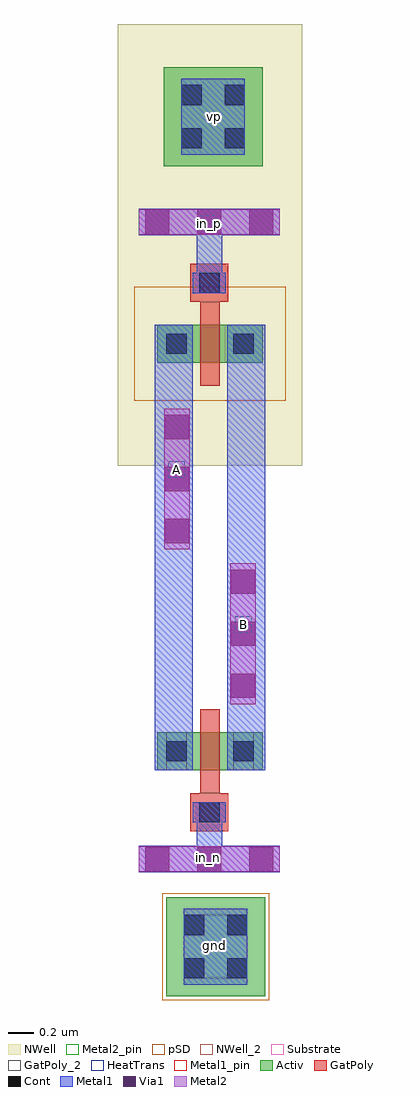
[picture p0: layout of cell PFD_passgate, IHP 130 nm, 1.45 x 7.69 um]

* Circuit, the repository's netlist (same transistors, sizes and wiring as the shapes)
** sch_path: /foss/designs/CHIP-PLL/schematics/PFD/PFD_passgate.sch
**.subckt PFD_passgate in_n vp A B gnd in_p
*.ipin in_n
*.ipin in_p
*.iopin vp
*.iopin gnd
*.iopin B
*.iopin A
XM4 B in_p A vp sg13_lv_pmos w=0.3u l=0.15u ng=1 m=1 mm_ok=1
XM5 B in_n A gnd sg13_lv_nmos w=0.3u l=0.15u ng=1 m=1 mm_ok=1
**.ends
.end

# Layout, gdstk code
import gdstk
lib = gdstk.Library(unit=1e-6, precision=1e-09)
def R(c, l, rs):  # rectangles x0, y0, x1, y1
    for r in rs: c.add(gdstk.rectangle(r[:2], r[2:], *l))
def A(c, l, x, y, w, h, nx, ny, dx, dy):  # array of equal rectangles
    R(c, l, [(x+i*dx, y+j*dy, x+i*dx+w, y+j*dy+h) for i in range(nx) for j in range(ny)])
Activ = (1, 0)
GatPoly = (5, 0)
GatPoly_2 = (5, 2)
Cont = (6, 0)
Metal1 = (8, 0)
Metal1_pin = (8, 2)
Metal2 = (10, 0)
Metal2_pin = (10, 2)
pSD = (14, 0)
Via1 = (19, 0)
NWell = (31, 0)
NWell_2 = (31, 2)
Substrate = (40, 0)
HeatTrans = (51, 0)

pmos_2 = lib.new_cell('pmos$2')
R(pmos_2, Activ, [(0,0,0.3,0.3), (0,0,0.83,0.3), (0.53,0,0.83,0.3)])
R(pmos_2, GatPoly, [(0.34,-0.18,0.49,0.48), (0.34,-0.18,0.49,0.48)])
R(pmos_2, Cont, [(0.07,0.07,0.23,0.23), (0.6,0.07,0.76,0.23)])
R(pmos_2, Metal1, [(0.07,0,0.23,0.3), (0.07,0,0.23,0.3), (0.6,0,0.76,0.3), (0.6,0,0.76,0.3)])
R(pmos_2, pSD, [(-0.18,-0.3,1.01,0.6)])
R(pmos_2, NWell, [(-0.31,-0.31,1.14,0.61)])
R(pmos_2, Substrate, [(0.53,0,0.83,0.3)])
R(pmos_2, HeatTrans, [(0.34,-0.18,0.49,0.48)])
pmos_2.add(gdstk.Label('pmos', (0.415,0.15), layer=63, texttype=0))
pmos_2.add(gdstk.Label('pmos', (0.415,0.15), layer=51, texttype=0))

nmos_2 = lib.new_cell('nmos$2')
R(nmos_2, Activ, [(0,0,0.3,0.3), (0,0,0.83,0.3), (0.53,0,0.83,0.3)])
R(nmos_2, GatPoly, [(0.34,-0.18,0.49,0.48)])
R(nmos_2, GatPoly_2, [(0.34,-0.18,0.49,0.48)])
R(nmos_2, Cont, [(0.07,0.07,0.23,0.23), (0.6,0.07,0.76,0.23)])
R(nmos_2, Metal1, [(0.07,0,0.23,0.3), (0.6,0,0.76,0.3)])
R(nmos_2, Metal1_pin, [(0.07,0,0.23,0.3), (0.6,0,0.76,0.3)])
R(nmos_2, HeatTrans, [(0.34,-0.18,0.49,0.48)])
nmos_2.add(gdstk.Label('nmos', (0.415,0.15), layer=63, texttype=0))
nmos_2.add(gdstk.Label('nmos', (0.415,0.15), layer=51, texttype=0))

ptap1_2 = lib.new_cell('ptap1$2')
R(ptap1_2, Activ, [(0,0,0.78,0.78)])
R(ptap1_2, Cont, [(0.14,0.14,0.3,0.3), (0.48,0.14,0.64,0.3), (0.14,0.48,0.3,0.64), (0.48,0.48,0.64,0.64)])
R(ptap1_2, Metal1, [(0.14,0.09,0.64,0.69), (0.14,0.14,0.64,0.64)])
R(ptap1_2, Metal1_pin, [(0.14,0.14,0.64,0.64)])
R(ptap1_2, pSD, [(-0.03,-0.03,0.81,0.81)])
R(ptap1_2, Substrate, [(0,0,0.78,0.78)])
ptap1_2.add(gdstk.Label('sub!', (0.39,0.01), layer=63, texttype=0))
ptap1_2.add(gdstk.Label('sub!', (0.39,0.01), layer=40, texttype=0))

ntap1_2 = lib.new_cell('ntap1$2')
R(ntap1_2, Activ, [(0,0,0.78,0.78)])
R(ntap1_2, Cont, [(0.14,0.14,0.3,0.3), (0.48,0.14,0.64,0.3), (0.14,0.48,0.3,0.64), (0.48,0.48,0.64,0.64)])
R(ntap1_2, Metal1, [(0.14,0.09,0.64,0.69)])
R(ntap1_2, Metal1_pin, [(0.14,0.09,0.64,0.69), (0.14,0.14,0.64,0.64)])
R(ntap1_2, NWell, [(-0.24,-0.24,1.02,1.02), (0,0,0.78,0.78)])
R(ntap1_2, NWell_2, [(0,0,0.78,0.78)])
ntap1_2.add(gdstk.Label('well', (0.39,0.01), layer=31, texttype=0))
ntap1_2.add(gdstk.Label('well', (0.39,0.01), layer=63, texttype=0))

via_10 = lib.new_cell('Via$10')
R(via_10, Metal1, [(-0.555,-0.105,0.555,0.105)])
R(via_10, Metal2, [(-0.555,-0.1,0.555,0.1)])
A(via_10, Via1, -0.505, -0.095, 0.19, 0.19, 3, 1, 0.41, 0)

via_5_2 = lib.new_cell('Via$5$2')
R(via_5_2, GatPoly, [(-0.15,-0.15,0.15,0.15)])
R(via_5_2, Cont, [(-0.08,-0.08,0.08,0.08)])
R(via_5_2, Metal1, [(-0.13,-0.08,0.13,0.08)])

via_3 = lib.new_cell('Via$3')
R(via_3, Metal1, [(-0.105,-0.555,0.105,0.555)])
R(via_3, Metal2, [(-0.1,-0.555,0.1,0.555)])
A(via_3, Via1, -0.095, -0.505, 0.19, 0.19, 1, 3, 0, 0.41)

pfd_passgate = lib.new_cell('PFD_passgate')
R(pfd_passgate, Metal1_pin, [(-3.245,-4.395,-3.115,-4.265), (-3.245,2.135,-3.115,2.265)])
R(pfd_passgate, Metal2_pin, [(-3.295,-3.705,-3.165,-3.575), (-3.015,-1.865,-2.885,-1.735), (-3.545,-0.645,-3.415,-0.515), (-3.285,1.295,-3.155,1.425)])
R(pfd_passgate, NWell, [(-3.94,-0.55,-2.49,2.83), (-3.94,2.83,-2.49,2.93)])
pfd_passgate.add(gdstk.FlexPath([(-2.93,0.56),(-2.93,-2.95)], 0.3, ends="flush", simple_path=True, layer=8, datatype=0))  # Metal1
pfd_passgate.add(gdstk.FlexPath([(-3.5,0.56),(-3.5,-2.95)], 0.3, ends="flush", simple_path=True, layer=8, datatype=0))  # Metal1
pfd_passgate.add(gdstk.FlexPath([(-3.22,0.81),(-3.22,1.33)], 0.2, ends="flush", simple_path=True, layer=8, datatype=0))  # Metal1
pfd_passgate.add(gdstk.FlexPath([(-3.22,-3.72),(-3.22,-3.2)], 0.2, ends="flush", simple_path=True, layer=8, datatype=0))  # Metal1
pfd_passgate.add(gdstk.Reference(pmos_2, (-3.63,0.26)))
pfd_passgate.add(gdstk.Reference(nmos_2, (-3.63,-2.95)))
pfd_passgate.add(gdstk.Reference(ptap1_2, (-3.56,-4.73)))
pfd_passgate.add(gdstk.Reference(ntap1_2, (-3.58,1.81)))
pfd_passgate.add(gdstk.Reference(via_10, (-3.22,1.37)))
pfd_passgate.add(gdstk.Reference(via_5_2, (-3.22,0.89)))
pfd_passgate.add(gdstk.Reference(via_5_2, (-3.22,-3.28)))
pfd_passgate.add(gdstk.Reference(via_10, (-3.22,-3.65)))
pfd_passgate.add(gdstk.Reference(via_3, (-3.475,-0.655)))
pfd_passgate.add(gdstk.Reference(via_3, (-2.955,-1.875)))
pfd_passgate.add(gdstk.Label('A', (-3.48,-0.58), layer=10, texttype=25))
pfd_passgate.add(gdstk.Label('B', (-2.95,-1.8), layer=10, texttype=25))
pfd_passgate.add(gdstk.Label('in_p', (-3.22,1.36), layer=10, texttype=25))
pfd_passgate.add(gdstk.Label('in_n', (-3.23,-3.64), layer=10, texttype=25))
pfd_passgate.add(gdstk.Label('gnd', (-3.18,-4.33), layer=8, texttype=25))
pfd_passgate.add(gdstk.Label('vp', (-3.18,2.2), layer=8, texttype=25))

lib.write_gds('PFD_passgate.gds')
